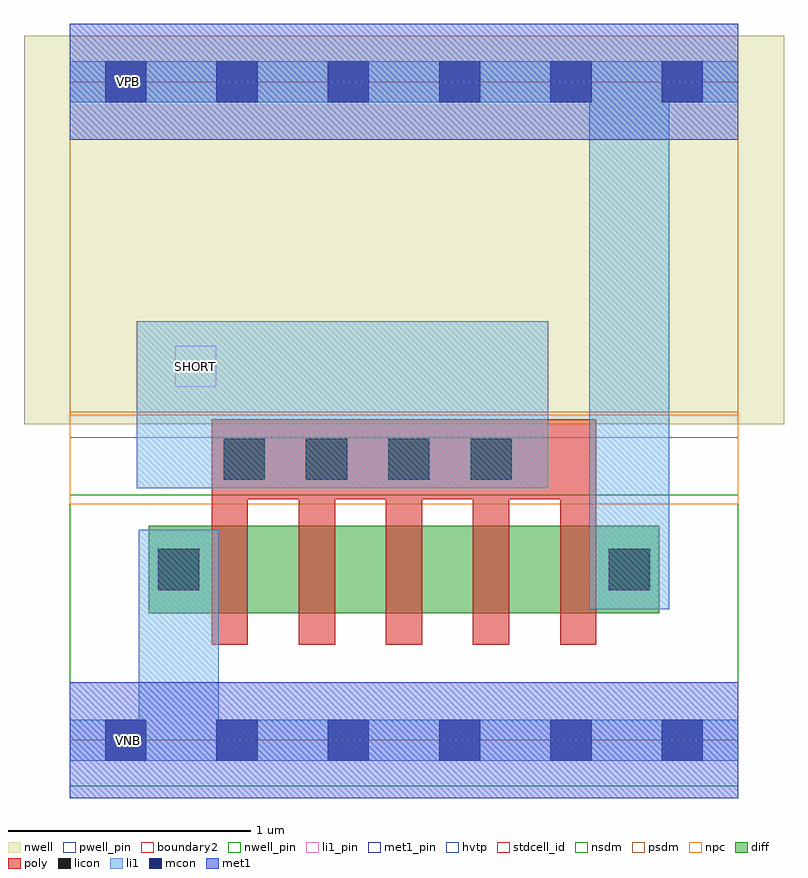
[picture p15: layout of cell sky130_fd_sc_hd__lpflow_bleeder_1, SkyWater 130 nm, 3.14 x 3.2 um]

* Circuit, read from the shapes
.subckt sky130_fd_sc_hd__lpflow_bleeder_1 SHORT VGND VNB VPB VPWR
XM1 n1 SHORT VGND VNB sky130_fd_pr__nfet_01v8 w=0.36 l=0.15
XM2 n2 SHORT n1 VNB sky130_fd_pr__nfet_01v8 w=0.36 l=0.15
XM3 n3 SHORT n2 VNB sky130_fd_pr__nfet_01v8 w=0.36 l=0.15
XM4 n4 SHORT n3 VNB sky130_fd_pr__nfet_01v8 w=0.36 l=0.15
XM5 VPWR SHORT n4 VNB sky130_fd_pr__nfet_01v8 w=0.36 l=0.15
.ends

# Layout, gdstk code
import gdstk
lib = gdstk.Library(unit=1e-6, precision=1e-09)
def R(c, l, rs):  # rectangles x0, y0, x1, y1
    for r in rs: c.add(gdstk.rectangle(r[:2], r[2:], *l))
def A(c, l, x, y, w, h, nx, ny, dx, dy):  # array of equal rectangles
    R(c, l, [(x+i*dx, y+j*dy, x+i*dx+w, y+j*dy+h) for i in range(nx) for j in range(ny)])
def P(c, l, *ps):  # polygons
    for p in ps: c.add(gdstk.Polygon(p, *l))
nwell_pin = (64, 16)
nwell = (64, 20)
diff = (65, 20)
poly = (66, 20)
licon = (66, 44)
li1_pin = (67, 16)
li1 = (67, 20)
mcon = (67, 44)
met1_pin = (68, 16)
met1 = (68, 20)
hvtp = (78, 44)
stdcell_id = (81, 4)
nsdm = (93, 44)
psdm = (94, 20)
npc = (95, 20)
pwell_pin = (122, 16)
boundary2 = (236, 0)

sky130_fd_sc_hd__lpflow_ = lib.new_cell('sky130_fd_sc_hd__lpflow_bleeder_1')
R(sky130_fd_sc_hd__lpflow_, nwell_pin, [(0.145,2.635,0.315,2.805)])
R(sky130_fd_sc_hd__lpflow_, nwell, [(-0.19,1.305,2.95,2.91)])
R(sky130_fd_sc_hd__lpflow_, diff, [(0.325,0.525,2.435,0.885)])
P(sky130_fd_sc_hd__lpflow_, poly, [(0.585,0.395),(0.585,1.325),(2.175,1.325),(2.175,0.395),(2.025,0.395),(2.025,0.995),(1.815,0.995),(1.815,0.395),(1.665,0.395),(1.665,0.995),(1.455,0.995),(1.455,0.395),(1.305,0.395),(1.305,0.995),(1.095,0.995),(1.095,0.395),(0.945,0.395),(0.945,0.995),(0.735,0.995),(0.735,0.395)])
A(sky130_fd_sc_hd__lpflow_, licon, 0.635, 1.075, 0.17, 0.17, 4, 1, 0.34, 0)
R(sky130_fd_sc_hd__lpflow_, licon, [(0.365,0.62,0.535,0.79), (2.225,0.62,2.395,0.79)])
R(sky130_fd_sc_hd__lpflow_, li1_pin, [(0.435,1.46,0.605,1.63)])
R(sky130_fd_sc_hd__lpflow_, li1, [(0.275,1.04,1.975,1.73)])
P(sky130_fd_sc_hd__lpflow_, li1, [(2.145,0.54),(2.145,2.635),(0,2.635),(0,2.805),(2.76,2.805),(2.76,2.635),(2.475,2.635),(2.475,0.54)],
  [(0,-0.085),(0,0.085),(0.285,0.085),(0.285,0.87),(0.615,0.87),(0.615,0.085),(2.76,0.085),(2.76,-0.085)])
A(sky130_fd_sc_hd__lpflow_, mcon, 0.145, -0.085, 0.17, 0.17, 6, 2, 0.46, 2.72)
R(sky130_fd_sc_hd__lpflow_, met1_pin, [(0.145,-0.085,0.315,0.085), (0.145,2.635,0.315,2.805)])
R(sky130_fd_sc_hd__lpflow_, met1, [(0,-0.24,2.76,0.24), (0,2.48,2.76,2.96)])
R(sky130_fd_sc_hd__lpflow_, hvtp, [(0,1.25,2.76,2.72)])
R(sky130_fd_sc_hd__lpflow_, stdcell_id, [(0,0,2.76,2.72)])
R(sky130_fd_sc_hd__lpflow_, nsdm, [(0,-0.19,2.76,1.015)])
R(sky130_fd_sc_hd__lpflow_, psdm, [(0,1.355,2.76,2.91)])
R(sky130_fd_sc_hd__lpflow_, npc, [(0,0.975,2.76,1.345)])
R(sky130_fd_sc_hd__lpflow_, pwell_pin, [(0.145,-0.085,0.315,0.085)])
R(sky130_fd_sc_hd__lpflow_, boundary2, [(0,0,2.76,2.72)])
sky130_fd_sc_hd__lpflow_.add(gdstk.Label('SHORT', (0.52,1.545), layer=67, texttype=5))
sky130_fd_sc_hd__lpflow_.add(gdstk.Label('VNB', (0.24,0), layer=64, texttype=59))
sky130_fd_sc_hd__lpflow_.add(gdstk.Label('VPB', (0.24,2.72), layer=64, texttype=5))
sky130_fd_sc_hd__lpflow_.add(gdstk.Label('VPWR', (0.23,2.72), layer=68, texttype=5))
sky130_fd_sc_hd__lpflow_.add(gdstk.Label('VGND', (0.23,0), layer=68, texttype=5))
sky130_fd_sc_hd__lpflow_.add(gdstk.Label('lpflow_bleeder_1', (0,0), layer=83, texttype=44))

lib.write_gds('sky130_fd_sc_hd__lpflow_bleeder_1.gds')
